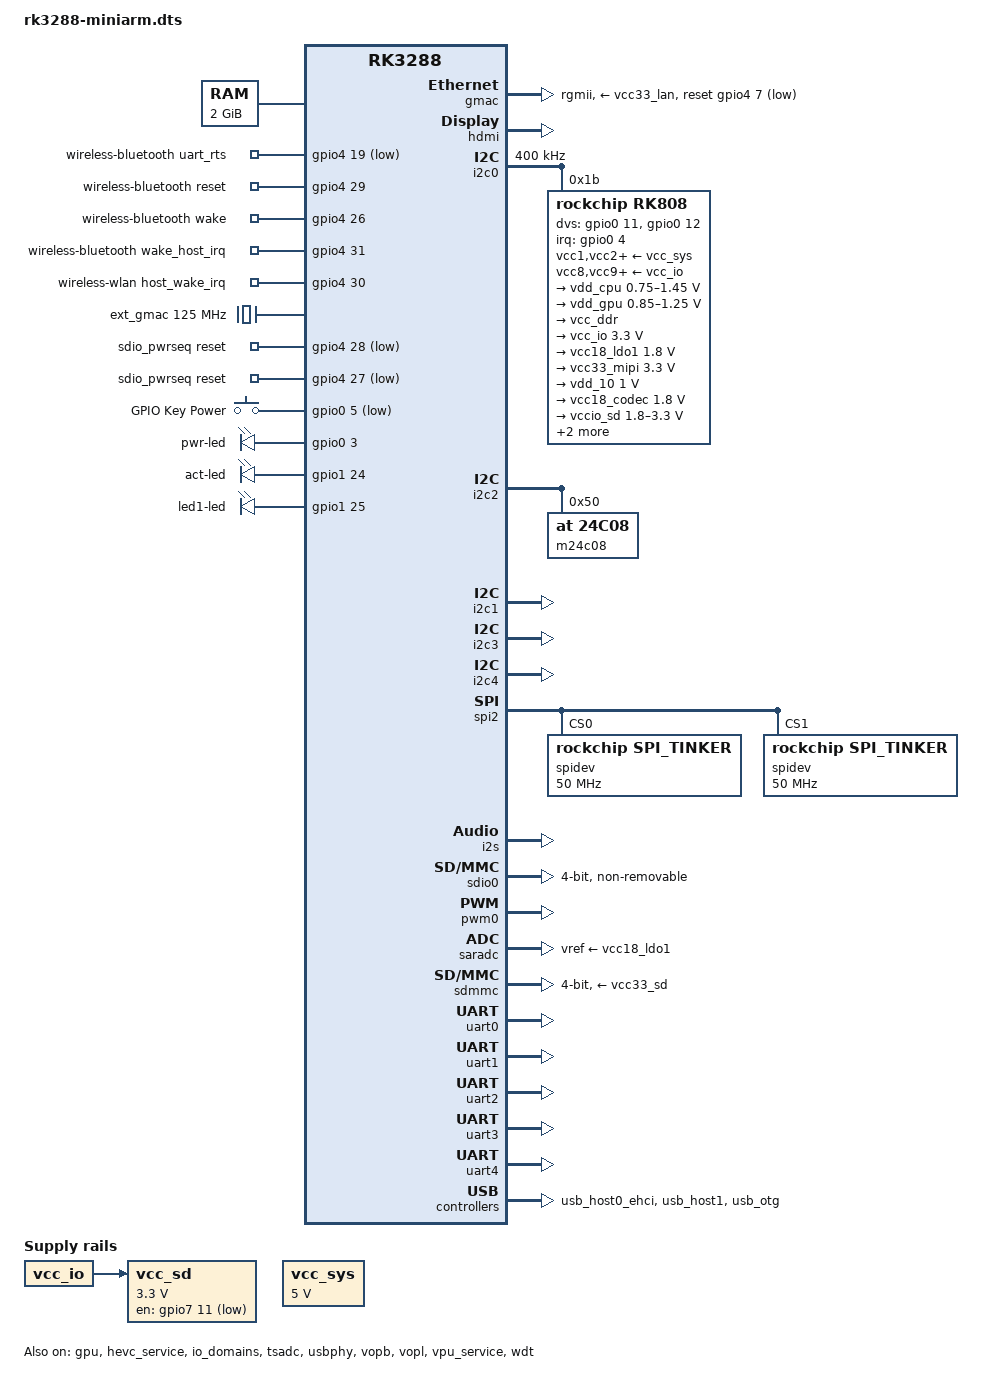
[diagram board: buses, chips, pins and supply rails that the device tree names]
/*
 * This file is dual-licensed: you can use it either under the terms
 * of the GPL or the X11 license, at your option. Note that this dual
 * licensing only applies to this file, and not this project as a
 * whole.
 *
 *  a) This file is free software; you can redistribute it and/or
 *     modify it under the terms of the GNU General Public License as
 *     published by the Free Software Foundation; either version 2 of the
 *     License, or (at your option) any later version.
 *
 *     This file is distributed in the hope that it will be useful,
 *     but WITHOUT ANY WARRANTY; without even the implied warranty of
 *     MERCHANTABILITY or FITNESS FOR A PARTICULAR PURPOSE.  See the
 *     GNU General Public License for more details.
 *
 * Or, alternatively,
 *
 *  b) Permission is hereby granted, free of charge, to any person
 *     obtaining a copy of this software and associated documentation
 *     files (the "Software"), to deal in the Software without
 *     restriction, including without limitation the rights to use,
 *     copy, modify, merge, publish, distribute, sublicense, and/or
 *     sell copies of the Software, and to permit persons to whom the
 *     Software is furnished to do so, subject to the following
 *     conditions:
 *
 *     The above copyright notice and this permission notice shall be
 *     included in all copies or substantial portions of the Software.
 *
 *     THE SOFTWARE IS PROVIDED "AS IS", WITHOUT WARRANTY OF ANY KIND,
 *     EXPRESS OR IMPLIED, INCLUDING BUT NOT LIMITED TO THE WARRANTIES
 *     OF MERCHANTABILITY, FITNESS FOR A PARTICULAR PURPOSE AND
 *     NONINFRINGEMENT. IN NO EVENT SHALL THE AUTHORS OR COPYRIGHT
 *     HOLDERS BE LIABLE FOR ANY CLAIM, DAMAGES OR OTHER LIABILITY,
 *     WHETHER IN AN ACTION OF CONTRACT, TORT OR OTHERWISE, ARISING
 *     FROM, OUT OF OR IN CONNECTION WITH THE SOFTWARE OR THE USE OR
 *     OTHER DEALINGS IN THE SOFTWARE.
 */

/dts-v1/;
#include <dt-bindings/clock/rockchip,rk808.h>
#include "rk3288.dtsi"

/ {
	compatible = "rockchip,rk3288-miniarm", "rockchip,rk3288";

	memory {
		device_type = "memory";
		reg = <0x0 0x0 0x0 0x80000000>;
	};

	wireless-bluetooth {
		compatible = "bluetooth-platdata";
		uart_rts_gpios = <&gpio4 19 GPIO_ACTIVE_LOW>;
		pinctrl-names = "default","rts_gpio";
		pinctrl-0 = <&uart0_rts>;
		pinctrl-1 = <&uart0_gpios>;
		BT,reset_gpio    = <&gpio4 29 GPIO_ACTIVE_HIGH>;
		BT,wake_gpio     = <&gpio4 26 GPIO_ACTIVE_HIGH>;
		BT,wake_host_irq = <&gpio4 31 GPIO_ACTIVE_HIGH>;
		status = "okay";
	};

	wireless-wlan {
		compatible = "wlan-platdata";
		rockchip,grf = <&grf>;
		wifi_chip_type = "ap6212";
		sdio_vref = <1800>;
		WIFI,host_wake_irq = <&gpio4 30 GPIO_ACTIVE_HIGH>;
		status = "okay";
	};

	ext_gmac: external-gmac-clock {
		compatible = "fixed-clock";
		clock-frequency = <125000000>;
		clock-output-names = "ext_gmac";
		#clock-cells = <0>;
	};

	sdio_pwrseq: sdio-pwrseq {
		compatible = "mmc-pwrseq-simple";
		clocks = <&rk808 RK808_CLKOUT1>;
		clock-names = "ext_clock";
		pinctrl-names = "default";
		pinctrl-0 = <&chip_enable_h>, <&wifi_enable_h>;

		/*
		 * On the module itself this is one of these (depending
		 * on the actual card populated):
		 * - SDIO_RESET_L_WL_REG_ON
		 * - PDN (power down when low)
		 */
		reset-gpios = <&gpio4 28 GPIO_ACTIVE_LOW>,
			<&gpio4 27 GPIO_ACTIVE_LOW>;
	};

	gpio-keys {
		compatible = "gpio-keys";
		#address-cells = <1>;
		#size-cells = <0>;
		autorepeat;

		pinctrl-names = "default";
		pinctrl-0 = <&pwrbtn>;

		button@0 {
			gpios = <&gpio0 5 GPIO_ACTIVE_LOW>;
			linux,code = <116>;
			label = "GPIO Key Power";
			linux,input-type = <1>;
			gpio-key,wakeup = <1>;
			debounce-interval = <100>;
		};
	};

	gpio-leds {
		compatible = "gpio-leds";

		pwr-led {
			gpios = <&gpio0 3 GPIO_ACTIVE_HIGH>;
			linux,default-trigger = "default-on";
		};

		act-led {
			gpios=<&gpio1 24 GPIO_ACTIVE_HIGH>;
			linux,default-trigger="mmc0";
		};

		led1-led {
			gpios=<&gpio1 25 GPIO_ACTIVE_HIGH>;
			linux,default-trigger="default-off";
		};
	};

	sound {
		compatible = "simple-audio-card";
		simple-audio-card,format = "i2s";
		simple-audio-card,name = "rockchip,miniarm-codec";
		simple-audio-card,mclk-fs = <512>;
		simple-audio-card,cpu {
			sound-dai = <&i2s>;
		};
		simple-audio-card,codec {
			sound-dai = <&hdmi>;
		};
	};

	vcc_sys: vsys-regulator {
		compatible = "regulator-fixed";
		regulator-name = "vcc_sys";
		regulator-min-microvolt = <5000000>;
		regulator-max-microvolt = <5000000>;
		regulator-always-on;
		regulator-boot-on;
	};

	/*
	 * NOTE: vcc_sd isn't hooked up on v1.0 boards where power comes from
	 * vcc_io directly.  Those boards won't be able to power cycle SD cards
	 * but it shouldn't hurt to toggle this pin there anyway.
	 */
	vcc_sd: sdmmc-regulator {
		compatible = "regulator-fixed";
		gpio = <&gpio7 11 GPIO_ACTIVE_LOW>;
		pinctrl-names = "default";
		pinctrl-0 = <&sdmmc_pwr>;
		regulator-name = "vcc_sd";
		regulator-min-microvolt = <3300000>;
		regulator-max-microvolt = <3300000>;
		startup-delay-us = <100000>;
		vin-supply = <&vcc_io>;
	};
};

&cpu0 {
	cpu0-supply = <&vdd_cpu>;
};

&gmac {
	phy-supply = <&vcc33_lan>;
	phy-mode = "rgmii";
	clock_in_out = "input";
	snps,reset-gpio = <&gpio4 7 0>;
	snps,reset-active-low;
	snps,reset-delays-us = <0 10000 1000000>;
	assigned-clocks = <&cru SCLK_MAC>;
	assigned-clock-parents = <&ext_gmac>;
	pinctrl-names = "default";
	pinctrl-0 = <&rgmii_pins>;
	tx_delay = <0x30>;
	rx_delay = <0x10>;
	status = "ok";
};

&dsi0 {
	status = "disabled";
	mipi_panel: mipi-panel {
		compatible ="asus,tc358762";
		reg = <0>;
		status = "okay";
	};
};

&gpu {
	mali-supply = <&vdd_gpu>;
	status = "okay";
};

&hdmi {
	#address-cells = <1>;
	#size-cells = <0>;
	#sound-dai-cells = <0>;
	status = "okay";
	/* Don't use vopl for HDMI */
	ports {
		hdmi_in: port {
			/delete-node/ endpoint@1;
		};
	};
};

&hevc_service {
	status = "okay";
};

&i2c0 {
	status = "okay";
	clock-frequency = <400000>;

	rk808: pmic@1b {
		compatible = "rockchip,rk808";
		reg = <0x1b>;
		interrupt-parent = <&gpio0>;
		interrupts = <4 IRQ_TYPE_LEVEL_LOW>;
		pinctrl-names = "default";
		pinctrl-0 = <&pmic_int &global_pwroff &dvs_1 &dvs_2>;
		dvs-gpios = <&gpio0 11 GPIO_ACTIVE_HIGH>,
				<&gpio0 12 GPIO_ACTIVE_HIGH>;

		rockchip,system-power-controller;
		wakeup-source;
		#clock-cells = <1>;
		clock-output-names = "xin32k", "rk808-clkout2";

		vcc1-supply = <&vcc_sys>;
		vcc2-supply = <&vcc_sys>;
		vcc3-supply = <&vcc_sys>;
		vcc4-supply = <&vcc_sys>;
		vcc6-supply = <&vcc_sys>;
		vcc7-supply = <&vcc_sys>;
		vcc8-supply = <&vcc_io>;
		vcc9-supply = <&vcc_io>;
		vcc10-supply = <&vcc_io>;
		vcc11-supply = <&vcc_sys>;
		vcc12-supply = <&vcc_io>;
		vddio-supply = <&vcc_io>;

		regulators {
			vdd_cpu: DCDC_REG1 {
				regulator-always-on;
				regulator-boot-on;
				regulator-min-microvolt = <750000>;
				regulator-max-microvolt = <1450000>;
				regulator-name = "vdd_arm";
				regulator-ramp-delay = <6000>;
				regulator-state-mem {
					regulator-off-in-suspend;
				};
			};

			vdd_gpu: DCDC_REG2 {
				regulator-always-on;
				regulator-boot-on;
				regulator-min-microvolt = <850000>;
				regulator-max-microvolt = <1250000>;
				regulator-name = "vdd_gpu";
				regulator-ramp-delay = <6000>;
				regulator-state-mem {
					regulator-on-in-suspend;
					regulator-suspend-microvolt = <1000000>;
				};
			};

			vcc_ddr: DCDC_REG3 {
				regulator-always-on;
				regulator-boot-on;
				regulator-name = "vcc_ddr";
				regulator-state-mem {
					regulator-on-in-suspend;
				};
			};

			vcc_io: DCDC_REG4 {
				regulator-always-on;
				regulator-boot-on;
				regulator-min-microvolt = <3300000>;
				regulator-max-microvolt = <3300000>;
				regulator-name = "vcc_io";
				regulator-state-mem {
					regulator-on-in-suspend;
					regulator-suspend-microvolt = <3300000>;
				};
			};

			vcc18_ldo1: LDO_REG1 {
				regulator-always-on;
				regulator-boot-on;
				regulator-min-microvolt = <1800000>;
				regulator-max-microvolt = <1800000>;
				regulator-name = "vcc18_ldo1";
				regulator-state-mem {
					regulator-on-in-suspend;
					regulator-suspend-microvolt = <1800000>;
				};
			};

			vcc33_mipi: LDO_REG2 {
				regulator-always-on;
				regulator-boot-on;
				regulator-min-microvolt = <3300000>;
				regulator-max-microvolt = <3300000>;
				regulator-name = "vcc33_mipi";
				regulator-state-mem {
					regulator-off-in-suspend;
				};
			};

			vdd_10: LDO_REG3 {
				regulator-always-on;
				regulator-boot-on;
				regulator-min-microvolt = <1000000>;
				regulator-max-microvolt = <1000000>;
				regulator-name = "vdd_10";
				regulator-state-mem {
					regulator-on-in-suspend;
					regulator-suspend-microvolt = <1000000>;
				};
			};

			vcc18_codec: LDO_REG4 {
				regulator-always-on;
				regulator-boot-on;
				regulator-min-microvolt = <1800000>;
				regulator-max-microvolt = <1800000>;
				regulator-name = "vcc18_codec";
				regulator-state-mem {
					regulator-on-in-suspend;
					regulator-suspend-microvolt = <1800000>;
				};
			};

			vccio_sd: LDO_REG5 {
				regulator-always-on;
				regulator-boot-on;
				regulator-min-microvolt = <1800000>;
				regulator-max-microvolt = <3300000>;
				regulator-name = "vccio_sd";
				regulator-state-mem {
					regulator-on-in-suspend;
					regulator-suspend-microvolt = <3300000>;
				};
			};

			vdd10_lcd: LDO_REG6 {
				regulator-always-on;
				regulator-boot-on;
				regulator-min-microvolt = <1000000>;
				regulator-max-microvolt = <1000000>;
				regulator-name = "vdd10_lcd";
				regulator-state-mem {
					regulator-on-in-suspend;
					regulator-suspend-microvolt = <1000000>;
				};
			};

			vcc_18: LDO_REG7 {
				regulator-always-on;
				regulator-boot-on;
				regulator-min-microvolt = <1800000>;
				regulator-max-microvolt = <1800000>;
				regulator-name = "vcc_18";
				regulator-state-mem {
					regulator-on-in-suspend;
					regulator-suspend-microvolt = <1800000>;
				};
			};

			vcc18_lcd: LDO_REG8 {
				regulator-always-on;
				regulator-boot-on;
				regulator-min-microvolt = <1800000>;
				regulator-max-microvolt = <1800000>;
				regulator-name = "vcc18_lcd";
				regulator-state-mem {
					regulator-on-in-suspend;
					regulator-suspend-microvolt = <1800000>;
				};
			};

			vcc33_sd: SWITCH_REG1 {
				regulator-always-on;
				regulator-boot-on;
				regulator-name = "vcc33_sd";
				regulator-state-mem {
					regulator-on-in-suspend;
				};
			};

			vcc33_lan: SWITCH_REG2 {
				regulator-always-on;
				regulator-boot-on;
				regulator-name = "vcc33_lan";
				regulator-state-mem {
					regulator-on-in-suspend;
				};
			};
		};
	};
};

&i2c2 {
	status = "okay";

	m24c08@50 {
		compatible = "at,24c08";
		reg = <0x50>;
	};
};

&i2c1 {
	status = "okay";

	pcm5122: pcm5122@4c {
		#sound-dai-cells = <0>;
		compatible = "ti,pcm5122";
		reg = <0x4c>;
		status = "disabled";
	};
};

&i2c3 {
	status = "okay";
};

&i2c4 {
	status = "okay";
};

&spi2 {
	status = "okay";
	max-freq = <50000000>;

	spidev@0 {
		compatible = "rockchip,spi_tinker";
		reg = <0>;
		spi-max-frequency = <50000000>;
		spi-cpha = <1>;
	};

	spidev@1 {
		compatible = "rockchip,spi_tinker";
		reg = <1>;
		spi-max-frequency = <50000000>;
		spi-cpha = <1>;
	};
};

&i2s {
	#sound-dai-cells = <0>;
	status = "okay";
};

&io_domains {
	status = "okay";

	sdcard-supply = <&vccio_sd>;
	wifi-supply = <&vcc_18>;
};

&sdio0 {
	status = "okay";
	clock-frequency = <50000000>;
	clock-freq-min-max = <200000 50000000>;
	bus-width = <4>;
	cap-sd-highspeed;
	cap-sdio-irq;
	disable-wp;
	keep-power-in-suspend;
	mmc-pwrseq = <&sdio_pwrseq>;
	non-removable;
	num-slots = <1>;
	pinctrl-names = "default";
	pinctrl-0 = <&sdio0_bus4 &sdio0_cmd &sdio0_clk>;
	sd-uhs-sdr104;
	supports-sdio;
};

&pwm0 {
	status = "okay";
};

&saradc {
	vref-supply = <&vcc18_ldo1>;
	status ="okay";
};

&sdmmc {
	bus-width = <4>;
	cap-mmc-highspeed;
	cap-sd-highspeed;
	sd-uhs-sdr12;
	sd-uhs-sdr25;
	sd-uhs-sdr50;
	sd-uhs-sdr104;
	card-detect-delay = <200>;
	disable-wp;			/* wp not hooked up */
	num-slots = <1>;
	pinctrl-names = "default";
	pinctrl-0 = <&sdmmc_clk &sdmmc_cmd &sdmmc_cd &sdmmc_bus4>;
	status = "okay";
	supports-sd;
	vmmc-supply = <&vcc33_sd>;
	vqmmc-supply = <&vccio_sd>;
};

&tsadc {
	rockchip,hw-tshut-mode = <1>; /* tshut mode 0:CRU 1:GPIO */
	rockchip,hw-tshut-polarity = <1>; /* tshut polarity 0:LOW 1:HIGH */
	status = "okay";
};

&uart0 {
	pinctrl-names = "default";
	pinctrl-0 = <&uart0_xfer>, <&uart0_cts>;
	status = "okay";
};

&uart1 {
	status = "okay";
};

&uart2 {
	status = "okay";
};

&uart3 {
	status = "okay";
};

&uart4 {
	status = "okay";
};

&usbphy {
	status = "okay";
};

&usb_host0_ehci {
	no-relinquish-port;
	status = "okay";
};

&usb_host1 {
	status = "okay";
};

&usb_otg {
	status= "okay";
};

&vopb {
	status = "okay";
};

&vopb_mmu {
	status = "okay";
};

&vopl {
	status = "okay";
	/* Don't use vopl for HDMI */
	vopl_out: port {
		/delete-node/ endpoint@0;
	};
};

&vopl_mmu {
	status = "okay";
};

&vpu_service {
	status = "okay";
};

&wdt {
	status = "okay";
};

&pinctrl {
	pcfg_pull_none_drv_8ma: pcfg-pull-none-drv-8ma {
		drive-strength = <8>;
	};

	pcfg_pull_up_drv_8ma: pcfg-pull-up-drv-8ma {
		bias-pull-up;
		drive-strength = <8>;
	};

	backlight {
		bl_en: bl-en {
			rockchip,pins = <7 2 RK_FUNC_GPIO &pcfg_pull_none>;
		};
	};

	buttons {
		pwrbtn: pwrbtn {
			rockchip,pins = <0 5 RK_FUNC_GPIO &pcfg_pull_up>;
		};
	};

	eth_phy {
		eth_phy_pwr: eth-phy-pwr {
			rockchip,pins = <0 6 RK_FUNC_GPIO &pcfg_pull_none>;
		};
	};

	pmic {
		pmic_int: pmic-int {
			rockchip,pins = <RK_GPIO0 4 RK_FUNC_GPIO &pcfg_pull_up>;
		};

		dvs_1: dvs-1 {
			rockchip,pins = <RK_GPIO0 11 RK_FUNC_GPIO &pcfg_pull_down>;
		};

		dvs_2: dvs-2 {
			rockchip,pins = <RK_GPIO0 12 RK_FUNC_GPIO &pcfg_pull_down>;
		};
	};

	sdio-pwrseq {
		wifi_enable_h: wifi-enable-h {
			rockchip,pins = <4 28 RK_FUNC_GPIO &pcfg_pull_none>;
		};
		chip_enable_h: chip-enable-h {
			rockchip,pins = <4 27 RK_FUNC_GPIO &pcfg_pull_none>;
		};
	};

	sdmmc {
		/*
		 * Default drive strength isn't enough to achieve even
		 * high-speed mode on EVB board so bump up to 8ma.
		 */
		sdmmc_bus4: sdmmc-bus4 {
			rockchip,pins = <6 16 RK_FUNC_1 &pcfg_pull_up_drv_8ma>,
					<6 17 RK_FUNC_1 &pcfg_pull_up_drv_8ma>,
					<6 18 RK_FUNC_1 &pcfg_pull_up_drv_8ma>,
					<6 19 RK_FUNC_1 &pcfg_pull_up_drv_8ma>;
		};

		sdmmc_clk: sdmmc-clk {
			rockchip,pins = <6 20 RK_FUNC_1 &pcfg_pull_none_drv_8ma>;
		};

		sdmmc_cmd: sdmmc-cmd {
			rockchip,pins = <6 21 RK_FUNC_1 &pcfg_pull_up_drv_8ma>;
		};

		sdmmc_pwr: sdmmc-pwr {
			rockchip,pins = <7 11 RK_FUNC_GPIO &pcfg_pull_none>;
		};
	};

	usb {
		host_vbus_drv: host-vbus-drv {
			rockchip,pins = <0 14 RK_FUNC_GPIO &pcfg_pull_none>;
		};

		pwr_3g: pwr-3g {
			rockchip,pins = <7 8 RK_FUNC_GPIO &pcfg_pull_none>;
		};
	};

	wireless-bluetooth {
		uart0_gpios: uart0-gpios {
			rockchip,pins = <4 19 RK_FUNC_GPIO &pcfg_pull_none>;
		};
	};
};
